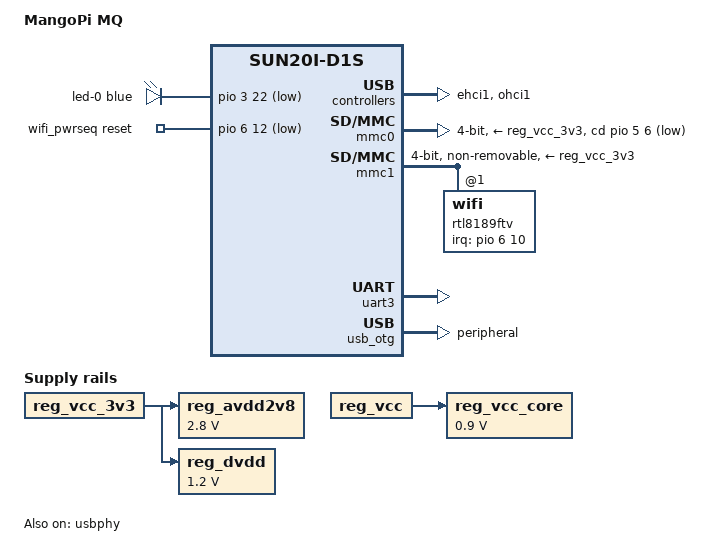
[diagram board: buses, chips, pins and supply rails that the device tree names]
// SPDX-License-Identifier: (GPL-2.0+ OR MIT)
// Copyright (C) 2022 Samuel Holland <samuel@sholland.org>

#include <dt-bindings/gpio/gpio.h>
#include <dt-bindings/leds/common.h>

/dts-v1/;

#include "sun20i-d1s.dtsi"
#include "sun20i-common-regulators.dtsi"

/ {
	model = "MangoPi MQ";
	compatible = "widora,mangopi-mq", "allwinner,sun20i-d1s";

	aliases {
		ethernet0 = &rtl8189ftv;
		serial3 = &uart3;
	};

	chosen {
		stdout-path = "serial3:115200n8";
	};

	leds {
		compatible = "gpio-leds";

		led-0 {
			color = <LED_COLOR_ID_BLUE>;
			function = LED_FUNCTION_STATUS;
			gpios = <&pio 3 22 GPIO_ACTIVE_LOW>; /* PD22 */
		};
	};

	reg_avdd2v8: avdd2v8 {
		compatible = "regulator-fixed";
		regulator-name = "avdd2v8";
		regulator-min-microvolt = <2800000>;
		regulator-max-microvolt = <2800000>;
		vin-supply = <&reg_vcc_3v3>;
	};

	reg_dvdd: dvdd {
		compatible = "regulator-fixed";
		regulator-name = "dvdd";
		regulator-min-microvolt = <1200000>;
		regulator-max-microvolt = <1200000>;
		vin-supply = <&reg_vcc_3v3>;
	};

	reg_vcc_core: vcc-core {
		compatible = "regulator-fixed";
		regulator-name = "vcc-core";
		regulator-min-microvolt = <900000>;
		regulator-max-microvolt = <900000>;
		vin-supply = <&reg_vcc>;
	};

	wifi_pwrseq: wifi-pwrseq {
		compatible = "mmc-pwrseq-simple";
		reset-gpios = <&pio 6 12 GPIO_ACTIVE_LOW>; /* PG12 */
	};
};

&cpu0 {
	cpu-supply = <&reg_vcc_core>;
};

&dcxo {
	clock-frequency = <24000000>;
};

&ehci1 {
	status = "okay";
};

&mmc0 {
	bus-width = <4>;
	cd-gpios = <&pio 5 6 GPIO_ACTIVE_LOW>; /* PF6 */
	disable-wp;
	vmmc-supply = <&reg_vcc_3v3>;
	vqmmc-supply = <&reg_vcc_3v3>;
	pinctrl-0 = <&mmc0_pins>;
	pinctrl-names = "default";
	status = "okay";
};

&mmc1 {
	bus-width = <4>;
	mmc-pwrseq = <&wifi_pwrseq>;
	non-removable;
	vmmc-supply = <&reg_vcc_3v3>;
	vqmmc-supply = <&reg_vcc_3v3>;
	pinctrl-0 = <&mmc1_pins>;
	pinctrl-names = "default";
	status = "okay";

	rtl8189ftv: wifi@1 {
		reg = <1>;
		interrupt-parent = <&pio>;
		interrupts = <6 10 IRQ_TYPE_LEVEL_LOW>; /* PG10 */
		interrupt-names = "host-wake";
	};
};

&ohci1 {
	status = "okay";
};

&pio {
	vcc-pe-supply = <&reg_avdd2v8>;
};

&uart3 {
	pinctrl-0 = <&uart3_pb_pins>;
	pinctrl-names = "default";
	status = "okay";
};

&usb_otg {
	dr_mode = "peripheral";
	status = "okay";
};

&usbphy {
	usb1_vbus-supply = <&reg_vcc>;
	status = "okay";
};
